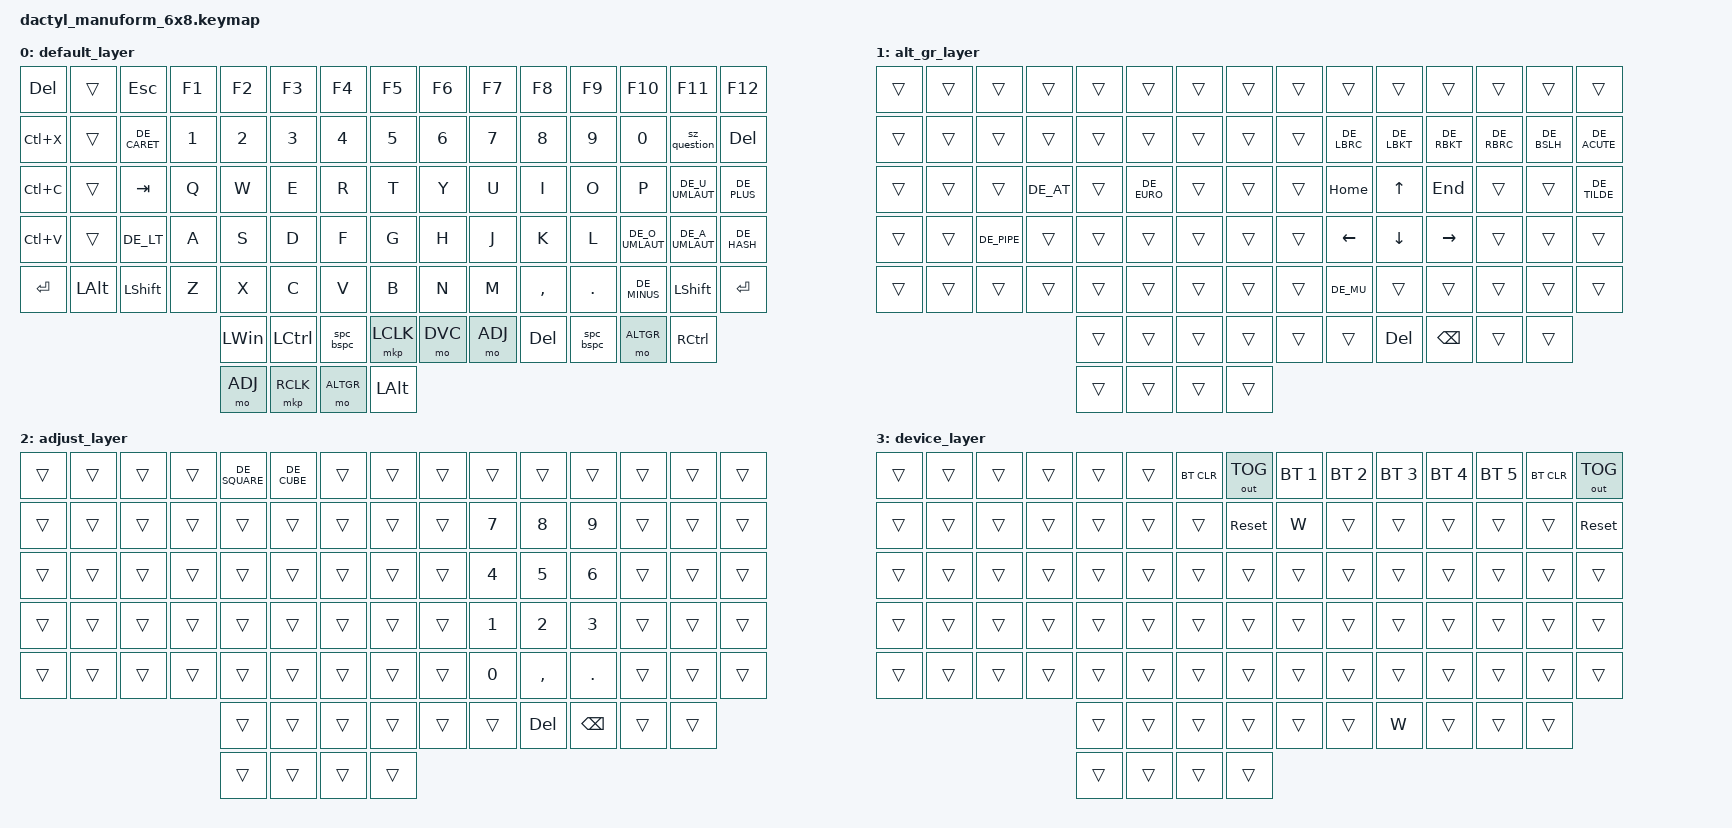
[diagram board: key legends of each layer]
#include <behaviors.dtsi>
#include <dt-bindings/zmk/keys.h>
#include <dt-bindings/zmk/mouse.h>
#include <dt-bindings/zmk/bt.h>
#include <dt-bindings/zmk/ext_power.h>
#include <dt-bindings/zmk/outputs.h>

/* zmk-nodefree-config */
#include "../../../../zmk-nodefree-config/helper.h"
#include "../../../../zmk-nodefree-config/international_chars/german.dtsi"

/* zmk-locale-generator key header */
#include "keys_de.h" 

#include "mouse.dtsi"

/* layer shortcuts */
#define DEFAULT 0
#define ALTGR 1
#define ADJ 2
#define DVC 3

/* shortcuts */
#define ___ &trans

/* behaviors */
/ {
    behaviors {
        spc_bspc: space_bspc {
            compatible = "zmk,behavior-mod-morph";
            label = "SPACE_BSPC";
            #binding-cells = <0>;
            bindings = <&kp SPACE>, <&kp BSPC>;
            mods = <(MOD_LSFT|MOD_RSFT)>;
        };

        sz_question: sz_question {
            compatible = "zmk,behavior-mod-morph";
            label = "SZ_QUESTION";
            #binding-cells = <0>;
            bindings = <&kp DE_SZ>, <&kp DE_QMARK>;
            mods = <(MOD_LSFT|MOD_RSFT)>;
        };
    };
};

/ {
    keymap {
        compatible = "zmk,keymap";

        default_layer {
            bindings = <
				&kp DEL         ___ 	        &kp ESC 			&kp F1 		    &kp F2 		    &kp F3 		    &kp F4 		    &kp F5             	    &kp F6	 	    &kp F7 		    &kp F8 		    &kp F9 		    &kp F10             &kp F11         	&kp F12
				&kp LC(X)       ___ 		    &kp DE_CARET        &kp N1 		    &kp N2 		    &kp N3 		    &kp N4 		    &kp N5             	    &kp N6 		    &kp N7 		    &kp N8 		    &kp N9 		    &kp N0 		        &sz_question        &kp DEL
                &kp LC(C)       ___		        &kp TAB             &kp Q 		    &kp W 		    &kp E 		    &kp R 		    &kp T  	         	    &kp Y 		    &kp U 		    &kp I 		    &kp O 		    &kp P 		        &kp DE_U_UMLAUT 	&kp DE_PLUS
                &kp LC(V)       ___ 		    &kp DE_LT  			&kp A	 	    &kp S 		    &kp D 		    &kp F 		    &kp G            	    &kp H 		    &kp J 		    &kp K  		    &kp L 		    &kp DE_O_UMLAUT     &kp DE_A_UMLAUT 	&kp DE_HASH
                &kp ENTER       &kp LALT	    &kp LSHIFT	        &kp Z 	 	    &kp X 		    &kp C		    &kp V	 	    &kp B            	    &kp N 		    &kp M 		    &kp COMMA	    &kp DOT		    &kp DE_MINUS        &kp LSHIFT 	    	&kp ENTER
                                                                                    &kp LWIN 	    &kp LCTRL 	    &spc_bspc       &mkp LCLK  		        &mo DVC		    &mo ADJ         &kp DEL         &spc_bspc       &mo ALTGR           &kp RCTRL 
																	                &mo ADJ	        &mkp RCLK	    &mo ALTGR 	    &kp LALT  	 			    	 			
            >;
        };

        alt_gr_layer {                                                           
            bindings = <
				___             ___    		    ___     			___ 	 	    ___ 		    ___ 		    ___ 		    ___                     ___             ___             ___             ___             ___                 ___             ___
				___             ___    		    ___      			___ 		    ___ 		    ___ 		    ___ 		    ___             	    ___ 		    &kp DE_LBRC	    &kp DE_LBKT     &kp DE_RBKT     &kp DE_RBRC	        &kp DE_BSLH     &kp DE_ACUTE 
                ___             ___ 	    	___      		    &kp DE_AT	    ___ 		    &kp DE_EURO	    ___        	    ___          		    ___ 		    &kp HOME	 	&kp UP 		    &kp END    	    ___      		    ___             &kp DE_TILDE
                ___             ___    		    &kp DE_PIPE			___ 	 	    ___ 		    ___ 		    ___ 		    ___             	    ___ 		    &kp LEFT	    &kp DOWN	 	&kp RIGHT	    ___ 		        ___      	    ___
                ___             ___    		    ___     			___ 	 	    ___ 		    ___ 		    ___	 	        ___                	    ___ 		    &kp DE_MU	    ___ 	 	 	___ 		    ___     	        ___ 	 	    ___
                                                                                    ___      	    ___     	    ___ 	        ___        		        ___		        ___             &kp DEL         &kp BSPC        ___                 ___ 
																	                ___             ___ 	        ___ 	        ___      	 	             
            >;
        };

        adjust_layer {
            bindings = <
				___             ___    		    ___     			___ 	 	    &kp DE_SQUARE   &kp DE_CUBE     ___ 		    ___                     ___             ___             ___             ___             ___                 ___             ___
				___             ___    		    ___      			___ 		    ___ 		    ___ 		    ___ 		    ___             	    ___ 		    &kp N7 		    &kp N8 		    &kp N9          ___                 ___             ___ 
                ___             ___             ___      		    ___ 		    ___ 		    ___     	    ___        	    ___          		    ___ 		    &kp N4 		    &kp N5 		    &kp N6          ___      		    ___             ___
                ___             ___    		    ___     			___ 	 	    ___ 		    ___ 		    ___ 		    ___             	    ___ 		    &kp N1 		    &kp N2 		    &kp N3          ___ 		        ___      	    ___
                ___             ___    		    ___     			___ 	 	    ___ 		    ___ 		    ___	 	        ___                	    ___ 		    &kp N0     	    &kp COMMA 	 	&kp DOT		    ___     	        ___ 	 	    ___
                                                                                    ___      	    ___     	    ___ 	        ___        		        ___		        ___             &kp DEL         &kp BSPC        ___                 ___ 
																	                ___             ___ 	        ___ 	        ___      	 	            	                    
            >;
        };

        device_layer {
            bindings = <
				___    		    ___      		___ 		        ___ 		    ___ 		    ___ 		    &bt BT_CLR      &out OUT_TOG            &bt BT_SEL 1    &bt BT_SEL 2    &bt BT_SEL 3    &bt BT_SEL 4    &bt BT_SEL 5        &bt BT_CLR      &out OUT_TOG
				___    		    ___      		___ 		        ___ 		    ___ 		    ___ 		    ___             &sys_reset 	            &kp W           ___             ___             ___             ___                 ___             &sys_reset 
                ___             ___      		___ 		        ___ 		    ___     	    ___        	    ___          	___ 		            ___             ___ 		 	___ 		    ___       	    ___      		    ___             ___
                ___             ___      		___ 		        ___ 		    ___     	    ___        	    ___          	___ 		            ___             ___ 		 	___ 		    ___       	    ___      		    ___             ___
                ___             ___      		___ 		        ___ 		    ___     	    ___        	    ___          	___ 		            ___             ___ 		 	___ 		    ___       	    ___      		    ___             ___
                                                                                    ___      	    ___     	    ___ 	        ___        		        ___		        ___             &kp W           ___             ___                 ___ 
																	                ___             ___ 	        ___ 	        ___      	 	             
            >;
        };

    };
};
